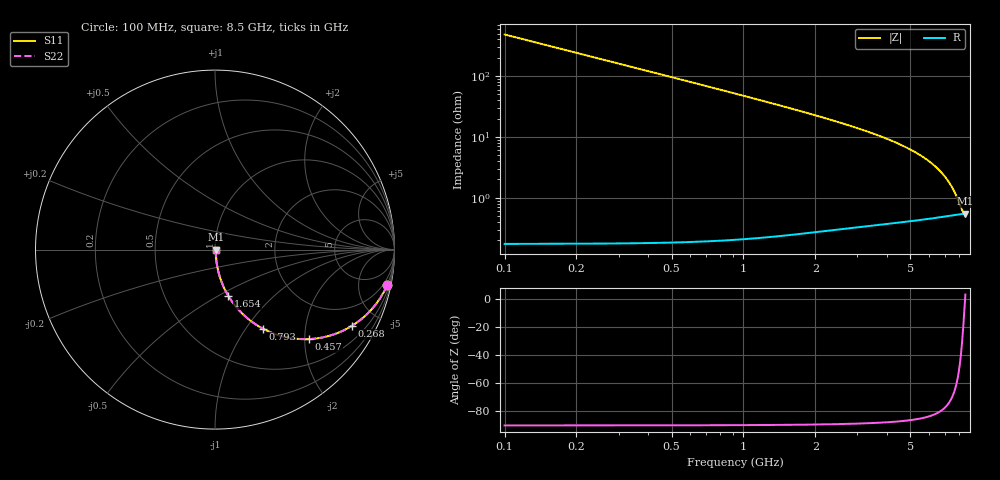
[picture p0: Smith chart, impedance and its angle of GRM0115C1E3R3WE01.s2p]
!Murata Part Number: GRM0115C1E3R3WE01
!These Parameters are Measured in Series Mode Connection
!Data Generated on Mar 30, 2021
!  o--ll--o
!Port1  Port2
!  o------o
!Operation Temp=25[degC], DC Bias Voltage=0[V]
!Freq. Start=100[MHz] Stop=9[GHz] 401[Steps]
# Hz S RI R 50
!Freq.(Hz) S11(Real) S11(Imag) S21(Real) S21(Imag) S12(Real) S12(Imag) S22(Real) S22(Imag)
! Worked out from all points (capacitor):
!   401 points, 100 MHz to 8.5 GHz, reference 50 ohm
!   read as one part in series: C = 3.3 pF near 142 MHz
!   lowest |Z| = 550 mohm at 8.458 GHz (marker M1)
!   series resonance near 8.474 GHz, so ESL is about 110 pH
!   S11 on the Smith chart (normalised r, x): 100 MHz: 1.00, -9.64; 268 MHz: 1.00, -3.60; 457 MHz: 1.00, -2.10; 793 MHz: 1.00, -1.20; 1.654 GHz: 1.00, -0.56; 8.5 GHz: 1.01, +0.00
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1e8  0.9587 -0.1988  0.0413 0.1988  0.0413 0.1988  0.9587 -0.1988
1.42e8  0.9201 -0.2709  0.0799 0.2709  0.0799 0.2709  0.9201 -0.2709
2.05e8  0.8466 -0.36  0.1534 0.36  0.1534 0.36  0.8466 -0.36
2.68e8  0.7634 -0.4245  0.2366 0.4245  0.2366 0.4245  0.7634 -0.4245
3.52e8  0.6514 -0.4759  0.3486 0.4759  0.3486 0.4759  0.6514 -0.4759
4.57e8  0.5252 -0.4985  0.4748 0.4985  0.4748 0.4985  0.5252 -0.4985
6.25e8  0.3706 -0.4818  0.6294 0.4818  0.6294 0.4818  0.3706 -0.4818
7.93e8  0.2668 -0.4407  0.7332 0.4407  0.7332 0.4407  0.2668 -0.4407
1.087e9  0.1607 -0.3648  0.8393 0.3648  0.8393 0.3648  0.1607 -0.3648
1.507e9  0.0889 -0.2807  0.9111 0.2807  0.9111 0.2807  0.0889 -0.2807
1.654e9  0.0744 -0.258  0.9256 0.258  0.9256 0.258  0.0744 -0.258
2.221e9  0.0414 -0.1922  0.9586 0.1922  0.9586 0.1922  0.0414 -0.1922
2.914e9  0.0235 -0.1409  0.9765 0.1409  0.9765 0.1409  0.0235 -0.1409
4.3e9  0.0105 -0.0811  0.9895 0.0811  0.9895 0.0811  0.0105 -0.0811
5.707e9  0.0064 -0.0449  0.9936 0.0449  0.9936 0.0449  0.0064 -0.0449
6.484e9  0.00558 -0.0299  0.9944 0.0299  0.9944 0.0299  0.00558 -0.0299
7.114e9  0.00532 -0.0193  0.9947 0.0193  0.9947 0.0193  0.00532 -0.0193
7.639e9  0.00529 -0.0114  0.9947 0.0114  0.9947 0.0114  0.00529 -0.0114
8.248e9  0.0054 -0.00295  0.9946 0.00295  0.9946 0.00295  0.0054 -0.00295
8.353e9  0.00543 -0.00157  0.9946 0.00157  0.9946 0.00157  0.00543 -0.00157
8.458e9  0.00547 -0.000209  0.9945 0.000209  0.9945 0.000209  0.00547 -0.000209
8.5e9  0.00548 0.00033  0.9945 -0.00033  0.9945 -0.00033  0.00548 0.00033
